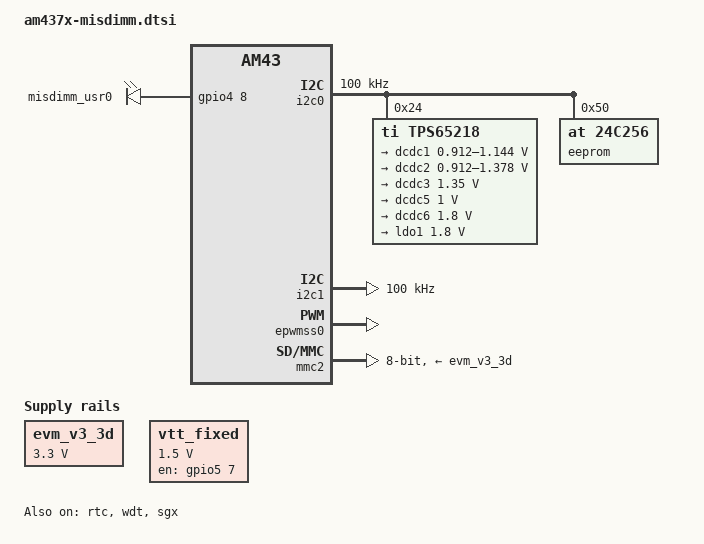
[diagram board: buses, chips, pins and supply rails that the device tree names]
/*
 * MIS www.mistec.de SO-DIMM System on Module with TI am437x
 * Copyright (C) 2015 - http://www.mistec.de Robert Woerle
 * 
 * Copied from arch/arm/boot/dts/am437x-gp-evm.dts which has
 * Copyright (C) 2013 Texas Instruments Incorporated - http://www.ti.com/
 * 
 * This program is free software; you can redistribute it and/or modify
 * it under the terms of the GNU General Public License version 2 as
 * published by the Free Software Foundation.
 */

/* AM437x SOM Mistec */

#include "am4372.dtsi"
#include <dt-bindings/pinctrl/am43xx.h>
#include <dt-bindings/pwm/pwm.h>
#include <dt-bindings/interrupt-controller/irq.h>

/ {
	compatible = "ti,am4372","ti,am43";
	som = "MISDIMM 1.0.0";

	evm_v3_3d: fixedregulator-v3_3d {
		compatible = "regulator-fixed";
		regulator-name = "evm_v3_3d";
		regulator-min-microvolt = <3300000>;
		regulator-max-microvolt = <3300000>;
		enable-active-high;
	};

	vtt_fixed: fixedregulator-vtt {
		compatible = "regulator-fixed";
		regulator-name = "vtt_fixed";
		regulator-min-microvolt = <1500000>;
		regulator-max-microvolt = <1500000>;
		regulator-always-on;
		regulator-boot-on;
		enable-active-high;
		gpio = <&gpio5 7 GPIO_ACTIVE_HIGH>;
	};

	leds {
		compatible = "gpio-leds";
		heartbeat {
			label = "misdimm_usr0";
			gpios = <&gpio4 8 GPIO_ACTIVE_HIGH>;
			linux,default-trigger = "heartbeat";
		};
	};
};

&am43xx_pinmux {
	pinctrl-names = "default", "sleep";
	pinctrl-0 = <&ddr3_vtt_toggle_default &debugss_pins &unused_pins>;

	ddr3_vtt_toggle_default: ddr_vtt_toggle_default {
		pinctrl-single,pins = <
			0x25c (DS0_PULL_UP_DOWN_EN | PIN_OUTPUT_PULLUP | DS0_FORCE_OFF_MODE | MUX_MODE7) /* spi0_cs0.gpio5_7 */
		>;
	};

	i2c0_pins: i2c0_pins {
		pinctrl-single,pins = <
			0x188 (PIN_INPUT_PULLUP | SLEWCTRL_FAST | MUX_MODE0) /* P600_66 AB24 i2c0_sda.i2c0_sda */
			0x18c (PIN_INPUT_PULLUP | SLEWCTRL_FAST | MUX_MODE0) /* P600_64 Y22 i2c0_scl.i2c0_scl */
		>;
	};

	i2c1_pins_default: i2c1_pins_default {
		pinctrl-single,pins = <
			0x15c (PIN_INPUT_PULLUP | SLEWCTRL_FAST | MUX_MODE2) /* P600_68 T20 spi0_cs0.i2c1_scl */
			0x158 (PIN_INPUT_PULLUP | SLEWCTRL_FAST | MUX_MODE2) /* P600_70 T21 spi0_d1.i2c1_sda  */
		>;
	};

	i2c1_pins_sleep: i2c1_pins_sleep {
		pinctrl-single,pins = <
			0x15c (PIN_INPUT_PULLUP | MUX_MODE7) /* P600_68 T20 spi0_cs0.gpio0_5 */
			0x158 (PIN_INPUT_PULLUP | MUX_MODE7) /* P600_70 T21 spi0_d1.gpio0_4 */
		>;
	};

	emmc_pins_default: emmc_pins_default {
		pinctrl-single,pins = <
			0x020 (PIN_INPUT_PULLUP | MUX_MODE2) /* gpmc_ad8.mmc1_dat0 */
			0x024 (PIN_INPUT_PULLUP | MUX_MODE2) /* gpmc_ad9.mmc1_dat1 */
			0x028 (PIN_INPUT_PULLUP | MUX_MODE2) /* gpmc_ad10.mmc1_dat2 */
			0x02c (PIN_INPUT_PULLUP | MUX_MODE2) /* gpmc_ad11.mmc1_dat3 */
			0x030 (PIN_INPUT_PULLUP | MUX_MODE2) /* gpmc_ad12.mmc1_dat4 */
			0x034 (PIN_INPUT_PULLUP | MUX_MODE2) /* gpmc_ad13.mmc1_dat5 */
			0x038 (PIN_INPUT_PULLUP | MUX_MODE2) /* gpmc_ad14.mmc1_dat6 */
			0x03c (PIN_INPUT_PULLUP | MUX_MODE2) /* gpmc_ad15.mmc1_dat7 */
			0x080 (PIN_INPUT_PULLUP | MUX_MODE2) /* gpmc_csn1.mmc1_clk */
			0x084 (PIN_INPUT_PULLUP | MUX_MODE2) /* gpmc_csn2.mmc1_cmd */
		>;
	};

	emmc_pins_sleep: emmc_pins_sleep {
		pinctrl-single,pins = <
			0x020 (PIN_INPUT_PULLDOWN | MUX_MODE7) /* gpmc_ad8.gpio1_8 */
			0x024 (PIN_INPUT_PULLDOWN | MUX_MODE7) /* gpmc_ad9.gpio1_9 */
			0x028 (PIN_INPUT_PULLDOWN | MUX_MODE7) /* gpmc_ad10.gpio1_10 */
			0x02c (PIN_INPUT_PULLDOWN | MUX_MODE7) /* gpmc_ad11.gpio1_11 */
			0x030 (PIN_INPUT_PULLDOWN | MUX_MODE7) /* gpmc_ad12.gpio1_12 */
			0x034 (PIN_INPUT_PULLDOWN | MUX_MODE7) /* gpmc_ad13.gpio1_13 */
			0x038 (PIN_INPUT_PULLDOWN | MUX_MODE7) /* gpmc_ad14.gpio1_14 */
			0x03c (PIN_INPUT_PULLDOWN | MUX_MODE7) /* gpmc_ad15.gpio_15 */
			0x080 (PIN_INPUT_PULLDOWN | MUX_MODE7) /* gpmc_csn1.gpio1_30 */
			0x084 (PIN_INPUT_PULLDOWN | MUX_MODE7) /* gpmc_csn2.gpio1_31 */
		>;
	};

	debugss_pins: pinmux_debugss_pins {
		pinctrl-single,pins = <
			0x290 (PIN_INPUT_PULLDOWN)
			0x294 (PIN_INPUT_PULLDOWN)
			0x298 (PIN_INPUT_PULLDOWN)
			0x29c (PIN_INPUT_PULLDOWN)
			0x2a0 (PIN_INPUT_PULLDOWN)
			0x2a4 (PIN_INPUT_PULLDOWN)
			0x2a8 (PIN_INPUT_PULLDOWN)
		>;
	};

	unused_pins: unused_pins {
		pinctrl-single,pins = <
			0x000	(PIN_INPUT_PULLDOWN | MUX_MODE7)		/* B5   gpmc_ad0.gpio1_0 */
			0x004	(PIN_INPUT_PULLDOWN | MUX_MODE7)		/* A5   gpmc_ad1.gpio1_1 */
			0x008	(PIN_INPUT_PULLDOWN | MUX_MODE7)		/* B6   gpmc_ad2.gpio1_2 */
			0x00c	(PIN_INPUT_PULLDOWN | MUX_MODE7)		/* A6   gpmc_ad3.gpio1_3 */
			0x010	(PIN_INPUT_PULLDOWN | MUX_MODE7)		/* B7   gpmc_ad4.gpio1_4 */
			0x014	(PIN_INPUT_PULLDOWN | MUX_MODE7)		/* A7   gpmc_ad5.gpio1_5 */
			0x01c	(PIN_INPUT_PULLDOWN | MUX_MODE7)		/* B8   gpmc_ad7.gpio1_7 */
			0x078	(PIN_INPUT_PULLDOWN | MUX_MODE7)		/* A3   gpmc_be1n.gpio1_28 */
			0x088	(PIN_INPUT_PULLDOWN | MUX_MODE7)		/* B12  gpmc_csn3.gpio2_0 */
			0x08c	(PIN_INPUT_PULLDOWN | MUX_MODE7)		/* A12  gpmc_clk.gpio2_1 */
			0x094	(PIN_INPUT_PULLDOWN | MUX_MODE7)		/* E10  gpmc_oen_ren.gpio2_3 */
			0x1a8	(PIN_OUTPUT | MUX_MODE7)				/* M25  mcasp0_axr1.gpio3_20 */
			0x208	(PIN_INPUT_PULLDOWN | MUX_MODE7)		/* AE18 cam0_data0.gpio5_19 */
			0x20c	(PIN_INPUT_PULLDOWN | MUX_MODE7)		/* AB18 cam0_data1.gpio5_20 */
			0x210	(PIN_INPUT_PULLDOWN | MUX_MODE7)		/* Y18  cam0_data2.gpio4_24 */
			0x214	(PIN_INPUT_PULLDOWN | MUX_MODE7)		/* AA18 cam0_data3.gpio4_25 */
			0x21c	(PIN_INPUT_PULLDOWN | MUX_MODE7)		/* AD19 cam0_data5.gpio4_27 */
			0x244	(PIN_INPUT_PULLDOWN | MUX_MODE7)		/* F23  gpio5_11.gpio5_11 */
			0x248	(PIN_INPUT_PULLDOWN | MUX_MODE7)		/* E25  gpio5_12.gpio5_12 */
			0x24c	(PIN_INPUT_PULLDOWN | MUX_MODE7)		/* E24  gpio5_13.gpio5_13 */
			0x254	(PIN_INPUT | PULL_DISABLE | MUX_MODE7)	/* R24  spi4_d0.gpio5_5 */
			0x260	(PIN_INPUT | PULL_DISABLE | MUX_MODE7)	/* N20  spi2_sclk.gpio3_24 */
			0x268	(PIN_INPUT_PULLDOWN | MUX_MODE7)		/* P20  spi2_d1.gpio3_23 */
			0x26c	(PIN_INPUT_PULLDOWN | MUX_MODE7)		/* T23  spi2_cs0.gpio3_25 */
			0x27c	(PIN_INPUT | PULL_DISABLE)
			0x2c8	(PIN_INPUT_PULLDOWN)
			0x2d4	(PIN_INPUT_PULLDOWN)
			0x2d8	(PIN_INPUT_PULLDOWN | MUX_MODE7)
			0x2dc	(PIN_INPUT_PULLDOWN | MUX_MODE7)
			0x2e0	(PIN_INPUT_PULLDOWN | MUX_MODE7)
			0x2e4	(PIN_INPUT_PULLDOWN | MUX_MODE7)
			0x2e8	(PIN_INPUT_PULLDOWN | MUX_MODE7)
			0x2ec	(PIN_INPUT_PULLDOWN | MUX_MODE7)
			0x2f0	(PIN_INPUT_PULLDOWN | MUX_MODE7)
			0x2f4	(PIN_INPUT_PULLDOWN | MUX_MODE7)
			0x2f8	(PIN_INPUT_PULLDOWN | MUX_MODE7)
			0x2fc	(PIN_INPUT_PULLDOWN | MUX_MODE7)
			0x300	(PIN_INPUT_PULLDOWN | MUX_MODE7)
			0x304	(PIN_INPUT_PULLDOWN | MUX_MODE7)
			0x308	(PIN_INPUT_PULLDOWN | MUX_MODE7)
			0x30c	(PIN_INPUT_PULLDOWN | MUX_MODE7)
			0x310	(PIN_INPUT_PULLDOWN | MUX_MODE7)
			0x314	(PIN_INPUT_PULLDOWN | MUX_MODE7)
			0x318	(PIN_INPUT_PULLDOWN | MUX_MODE7)
		>;
	};
};

&i2c0 {
	status = "okay";
	pinctrl-names = "default";
	pinctrl-0 = <&i2c0_pins>;
	clock-frequency = <100000>;

	tps65218: tps65218@24 {
		reg = <0x24>;
		compatible = "ti,tps65218";
		interrupts = <GIC_SPI 7 IRQ_TYPE_NONE>; /* NMIn */
		interrupt-parent = <&gic>;
		interrupt-controller;
		#interrupt-cells = <2>;

		dcdc1: regulator-dcdc1 {
			compatible = "ti,tps65218-dcdc1";
			regulator-name = "vdd_core";
			regulator-min-microvolt = <912000>;
			regulator-max-microvolt = <1144000>;
			regulator-boot-on;
			regulator-always-on;
		};

		dcdc2: regulator-dcdc2 {
			compatible = "ti,tps65218-dcdc2";
			regulator-name = "vdd_mpu";
			regulator-min-microvolt = <912000>;
			regulator-max-microvolt = <1378000>;
			regulator-boot-on;
			regulator-always-on;
		};

		dcdc3: regulator-dcdc3 {
			compatible = "ti,tps65218-dcdc3";
			regulator-name = "vdcdc3";
			regulator-suspend-enable;
			regulator-min-microvolt = <1350000>;
			regulator-max-microvolt = <1350000>;
			regulator-boot-on;
			regulator-always-on;
		};

		dcdc5: regulator-dcdc5 {
			compatible = "ti,tps65218-dcdc5";
			regulator-name = "v1_0bat";
			regulator-min-microvolt = <1000000>;
			regulator-max-microvolt = <1000000>;
			regulator-boot-on;
			regulator-always-on;
		};

		dcdc6: regulator-dcdc6 {
			compatible = "ti,tps65218-dcdc6";
			regulator-name = "v1_8bat";
			regulator-min-microvolt = <1800000>;
			regulator-max-microvolt = <1800000>;
			regulator-boot-on;
			regulator-always-on;
		};

		ldo1: regulator-ldo1 {
			compatible = "ti,tps65218-ldo1";
			regulator-min-microvolt = <1800000>;
			regulator-max-microvolt = <1800000>;
			regulator-boot-on;
			regulator-always-on;
		};
	};

	eeprom@50 {
		compatible = "at,24c256";
		reg = <0x50>;
	};
};

&i2c1 {
	status = "okay";
	pinctrl-names = "default", "sleep";
	pinctrl-0 = <&i2c1_pins_default>;
	pinctrl-1 = <&i2c1_pins_sleep>;
	clock-frequency = <100000>;
};

&epwmss0 {
	status = "okay";
};

&gpio0 {
	status = "okay";
};

&gpio1 {
	status = "okay";
};

&gpio2 {
	status = "okay";
};

&gpio3 {
	status = "okay";
};

&gpio4 {
	status = "okay";
};

&gpio5 {
	status = "okay";
	ti,no-reset-on-init;
};

/* eMMC sits on mmc2 */
&mmc2 {
	status = "okay";
	vmmc-supply = <&evm_v3_3d>;
	bus-width = <8>;
	pinctrl-names = "default", "sleep";
	pinctrl-0 = <&emmc_pins_default>;
	pinctrl-1 = <&emmc_pins_sleep>;
	ti,non-removable;
};

&gpmc {
	status = "disabled"; /* Disable eMMC when enabling GPMC/NAND */
	pinctrl-names = "default", "sleep";
};

&cpu {
	cpu0-supply = <&dcdc2>;
	ti,opp-disable-exception = <300000>;
};

&rtc {
	status = "okay";
};

&wdt {
	status = "okay";
};

&wkup_m3 {
	ti,set-io-isolation;
	ti,scale-data-fw = "am43x-evm-scale-data.bin";
};

&sgx {
	status = "okay";
};
